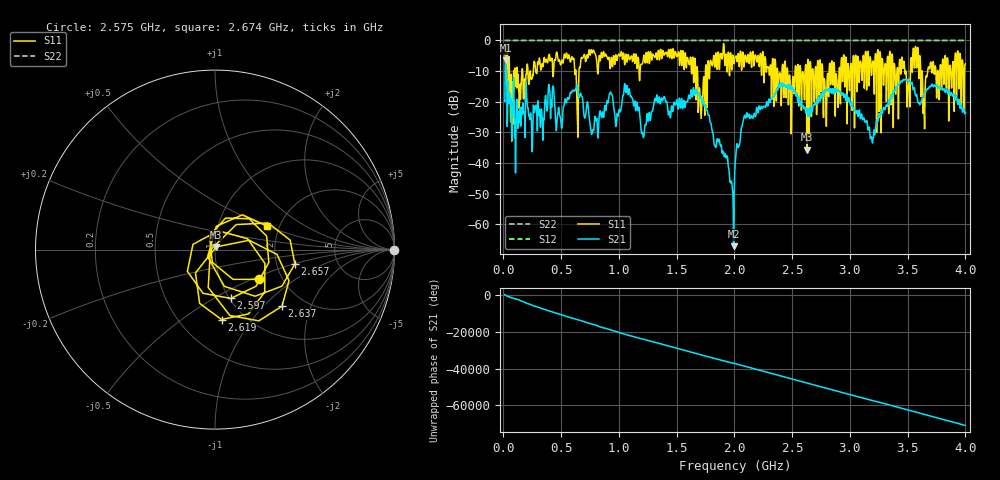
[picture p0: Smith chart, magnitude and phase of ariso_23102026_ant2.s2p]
! Anritsu VNA Master:  Model: MS2024B
! SN:  2417009
! /card0/usr/ariso_23102026_ant2.s2p
! Existing Calibration Information:
! TYPE:  Current Settings,  Active Cal Settings
! TIME:  10/23/2026 05:04:01 AM,  10/23/2026 04:57:56 AM
! INTERNAL TEMP:  49.5 C,  47.3 C
! # POINTS:  1605,  1605
! START FREQ:  10.000 MHz,  10.000 MHz
! STOP FREQ:  4.000 GHz,  4.000 GHz
! SOURCE POWER:  Default,  Default
! IFBW:  1 kHz,  1 kHz
! AVG FACTOR:  1 ,  1
! REF PLANE 1:  0 mm,  0 mm
! REF PLANE 2:  0 mm,  0 mm
! CAL TYPE:  1P2P S11,S21,  1P2P S11,S21
! CAL METHOD:  SOLT,  SOLT
! CAL LINE TYPE:  Coax,  Coax
! DUT PORT 1:  N-Conn(M),  N-Conn(M)
! DUT PORT 2:  N-Conn(M),  N-Conn(M)
! CAL STATUS:  OK: Accuracy High,  --
# GHZ S DB R 50.0
! FREQ.GHZ  S11DB  S11A  S21DB  S21A  S12DB  S12A  S22DB  S22A
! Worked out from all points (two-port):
!   1605 points, 10 MHz to 4 GHz, reference 50 ohm
!   highest |S21| = -6.42 dB at 19.95 MHz (marker M1); lowest = -67.1 dB at 1.993 GHz (marker M2)
!   |S21| within 3 dB of the highest: 14.93 MHz to 23.74 MHz (8.813 MHz wide, 45.6 % of centre)
!   lowest |S11| = -35.7 dB at 2.627 GHz (marker M3), VSWR 1.03, Z = 50.6 + j1.53 ohm
!   |S11| at or under -10 dB: 1.68 GHz to 1.749 GHz (69.3 MHz wide, 4.04 % of centre); 2.46 GHz to 2.525 GHz (64.7 MHz wide, 2.6 % of centre); 2.764 GHz to 2.821 GHz (56.39 MHz wide, 2.02 % of centre)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
!   |S22| runs from 0.0 to 0.0 dB; largest |S21 - S12| = 1.5
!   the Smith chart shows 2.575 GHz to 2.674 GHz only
!   S11 on the Smith chart (normalised r, x): 2.575 GHz: 1.53, -0.56; 2.597 GHz: 1.01, -0.60; 2.619 GHz: 0.78, -0.72; 2.637 GHz: 1.55, -1.28; 2.657 GHz: 2.53, -0.51; 2.674 GHz: 1.71, +0.50
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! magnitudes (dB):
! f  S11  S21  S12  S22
! 10 MHz  -4.5  -19.7  0.0  0.0
! 19.95 MHz  -12.5  -6.4  0.0  0.0
! 74.68 MHz  -19.7  -26.4  0.0  0.0
! 676.7 MHz  -5.6  -18.3  0.0  0.0
! 1.067 GHz  -6.3  -15.1  0.0  0.0
! 1.209 GHz  -6.7  -31.2  0.0  0.0
! 1.341 GHz  -3.2  -20.0  0.0  0.0
! 1.679 GHz  -9.3  -17.3  0.0  0.0
! 1.993 GHz  -6.7  -67.1  0.0  0.0
! 2.005 GHz  -5.5  -41.0  0.0  0.0
! 2.095 GHz  -4.8  -25.1  0.0  0.0
! 2.575 GHz  -10.5  -20.1  0.0  0.0
! 2.597 GHz  -10.9  -21.6  0.0  0.0
! 2.619 GHz  -8.2  -23.7  0.0  0.0
! 2.627 GHz  -35.7  -22.2  0.0  0.0
! 2.637 GHz  -6.2  -24.8  0.0  0.0
! 2.657 GHz  -6.9  -24.5  0.0  0.0
! 2.672 GHz  -12.1  -22.9  0.0  0.0
! 2.674 GHz  -10.0  -23.2  0.0  0.0
! 3.194 GHz  -8.0  -33.3  0.0  0.0
! 3.336 GHz  -23.8  -19.3  0.0  0.0
! 4 GHz  -7.6  -23.5  0.0  0.0
